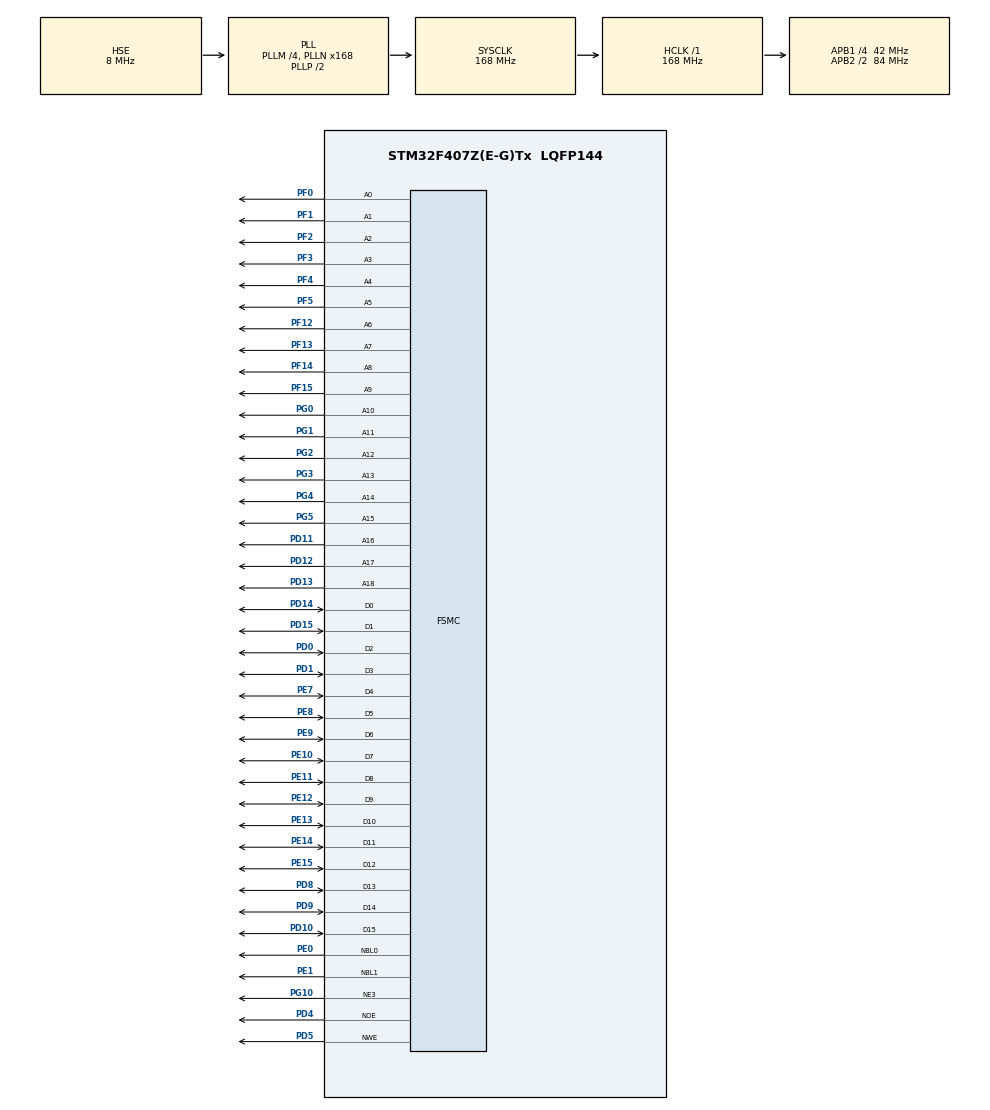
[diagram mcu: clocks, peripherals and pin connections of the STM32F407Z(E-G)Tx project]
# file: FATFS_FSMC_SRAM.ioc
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FATFS._CODE_PAGE=936
FSMC.WriteOperation1=FSMC_WRITE_OPERATION_ENABLE
Mcu.Family=STM32F4
Mcu.Name=STM32F407Z(E-G)Tx
Mcu.Package=LQFP144
NVIC.PriorityGroup=NVIC_PRIORITYGROUP_4
PA13.Mode=Serial_Wire
PA13.Signal=SYS_JTMS-SWDIO
PA14.Mode=Serial_Wire
PA14.Signal=SYS_JTCK-SWCLK
PD0.Signal=FSMC_D2_DA2
PD1.Signal=FSMC_D3_DA3
PD10.Signal=FSMC_D15_DA15
PD11.Signal=FSMC_A16_CLE
PD12.Signal=FSMC_A17_ALE
PD13.Signal=FSMC_A18
PD14.Signal=FSMC_D0_DA0
PD15.Signal=FSMC_D1_DA1
PD4.Signal=FSMC_NOE
PD5.Signal=FSMC_NWE
PD8.Signal=FSMC_D13_DA13
PD9.Signal=FSMC_D14_DA14
PE0.Signal=FSMC_NBL0
PE1.Signal=FSMC_NBL1
PE10.Signal=FSMC_D7_DA7
PE11.Signal=FSMC_D8_DA8
PE12.Signal=FSMC_D9_DA9
PE13.Signal=FSMC_D10_DA10
PE14.Signal=FSMC_D11_DA11
PE15.Signal=FSMC_D12_DA12
PE7.Signal=FSMC_D4_DA4
PE8.Signal=FSMC_D5_DA5
PE9.Signal=FSMC_D6_DA6
PF0.Signal=FSMC_A0
PF1.Signal=FSMC_A1
PF12.Signal=FSMC_A6
PF13.Signal=FSMC_A7
PF14.Signal=FSMC_A8
PF15.Signal=FSMC_A9
PF2.Signal=FSMC_A2
PF3.Signal=FSMC_A3
PF4.Signal=FSMC_A4
PF5.Signal=FSMC_A5
PG0.Signal=FSMC_A10
PG1.Signal=FSMC_A11
PG10.Mode=NorPsramChipSelect3_1
PG10.Signal=FSMC_NE3
PG2.Signal=FSMC_A12
PG3.Signal=FSMC_A13
PG4.Signal=FSMC_A14
PG5.Signal=FSMC_A15
PH0-OSC_IN.Mode=HSE-External-Oscillator
PH0-OSC_IN.Signal=RCC_OSC_IN
PH1-OSC_OUT.Mode=HSE-External-Oscillator
PH1-OSC_OUT.Signal=RCC_OSC_OUT
ProjectManager.HeapSize=0x200
ProjectManager.StackSize=0x400
ProjectManager.TargetToolchain=MDK-ARM V5
RCC.48MHZClocksFreq_Value=84000000
RCC.AHBFreq_Value=168000000
RCC.APB1CLKDivider=RCC_HCLK_DIV4
RCC.APB1Freq_Value=42000000
RCC.APB1TimFreq_Value=84000000
RCC.APB2CLKDivider=RCC_HCLK_DIV2
RCC.APB2Freq_Value=84000000
RCC.APB2TimFreq_Value=168000000
RCC.CortexFreq_Value=168000000
RCC.HCLKFreq_Value=168000000
RCC.HSE_VALUE=8000000
RCC.HSI_VALUE=16000000
RCC.LSE_VALUE=32768
RCC.PLLM=4
RCC.PLLN=168
RCC.PLLSourceVirtual=RCC_PLLSOURCE_HSE
RCC.SYSCLKFreq_VALUE=168000000
RCC.SYSCLKSource=RCC_SYSCLKSOURCE_PLLCLK
RCC.VCOOutputFreq_Value=336000000
SH.FSMC_A0.0=FSMC_A0,19b-a1
SH.FSMC_A1.0=FSMC_A1,19b-a1
SH.FSMC_A10.0=FSMC_A10,19b-a1
SH.FSMC_A11.0=FSMC_A11,19b-a1
SH.FSMC_A12.0=FSMC_A12,19b-a1
SH.FSMC_A13.0=FSMC_A13,19b-a1
SH.FSMC_A14.0=FSMC_A14,19b-a1
SH.FSMC_A15.0=FSMC_A15,19b-a1
SH.FSMC_A16_CLE.0=FSMC_A16,19b-a1
SH.FSMC_A17_ALE.0=FSMC_A17,19b-a1
SH.FSMC_A18.0=FSMC_A18,19b-a1
SH.FSMC_A2.0=FSMC_A2,19b-a1
SH.FSMC_A3.0=FSMC_A3,19b-a1
SH.FSMC_A4.0=FSMC_A4,19b-a1
SH.FSMC_A5.0=FSMC_A5,19b-a1
SH.FSMC_A6.0=FSMC_A6,19b-a1
SH.FSMC_A7.0=FSMC_A7,19b-a1
SH.FSMC_A8.0=FSMC_A8,19b-a1
SH.FSMC_A9.0=FSMC_A9,19b-a1
SH.FSMC_D0_DA0.0=FSMC_D0,16b-d1
SH.FSMC_D10_DA10.0=FSMC_D10,16b-d1
SH.FSMC_D11_DA11.0=FSMC_D11,16b-d1
SH.FSMC_D12_DA12.0=FSMC_D12,16b-d1
SH.FSMC_D13_DA13.0=FSMC_D13,16b-d1
SH.FSMC_D14_DA14.0=FSMC_D14,16b-d1
SH.FSMC_D15_DA15.0=FSMC_D15,16b-d1
SH.FSMC_D1_DA1.0=FSMC_D1,16b-d1
SH.FSMC_D2_DA2.0=FSMC_D2,16b-d1
SH.FSMC_D3_DA3.0=FSMC_D3,16b-d1
SH.FSMC_D4_DA4.0=FSMC_D4,16b-d1
SH.FSMC_D5_DA5.0=FSMC_D5,16b-d1
SH.FSMC_D6_DA6.0=FSMC_D6,16b-d1
SH.FSMC_D7_DA7.0=FSMC_D7,16b-d1
SH.FSMC_D8_DA8.0=FSMC_D8,16b-d1
SH.FSMC_D9_DA9.0=FSMC_D9,16b-d1
SH.FSMC_NBL0.0=FSMC_NBL0,2ByteEnable1
SH.FSMC_NBL1.0=FSMC_NBL1,2ByteEnable1
SH.FSMC_NOE.0=FSMC_NOE,Sram1
SH.FSMC_NWE.0=FSMC_NWE,Sram1
VP_FATFS_VS_SRAM.Mode=SRAM
board=custom

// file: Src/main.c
/* USER CODE BEGIN Header */
/**
  ******************************************************************************
  * @file           : main.c
  * @brief          : Main program body
  ******************************************************************************
  * @attention
  *
  * <h2><center>&copy; Copyright (c) 2020 STMicroelectronics.
  * All rights reserved.</center></h2>
  *
  * This software component is licensed by ST under Ultimate Liberty license
  * SLA0044, the "License"; You may not use this file except in compliance with
  * the License. You may obtain a copy of the License at:
  *                             www.st.com/SLA0044
  *
  ******************************************************************************
  */
/* USER CODE END Header */

#include "main.h"
#include "fatfs.h"

SRAM_HandleTypeDef hsram1;

void SystemClock_Config(void);
static void MX_GPIO_Init(void);
static void MX_FSMC_Init(void);

/* USER CODE BEGIN 0 */
FRESULT f_result;
FIL myfile;
uint32_t br,bw;
uint8_t msg[] = "hello world";
uint8_t buff[20];
uint8_t work[4096];

/* USER CODE END 0 */

int main(void)
{

  /* MCU Configuration--------------------------------------------------------*/

  /* Reset of all peripherals, Initializes the Flash interface and the Systick. */
  HAL_Init();

  /* Configure the system clock */
  SystemClock_Config();

  /* Initialize all configured peripherals */
  MX_GPIO_Init();
  MX_FSMC_Init();
  MX_FATFS_Init();
  /* USER CODE BEGIN 2 */

	f_result = f_mkfs(SRAMDISKPath, FM_FAT|FM_SFD, 512, work, 4096); /* 创建文件系统 */
	if(f_result != FR_OK)
	{
	  //printf("f_mkfs() allocated failed\r\n");
	  while(1);
	}
	f_result = f_mount(&SRAMDISKFatFS, SRAMDISKPath, 0); /* 挂载文件系统 */
	if(f_result != FR_OK)
	{
	  //printf("f_mkfs() allocated failed\r\n");
	  while(1);
	}

	/* 创建测试文件并写入内容 */
	f_open(&myfile, "test.txt", FA_WRITE|FA_CREATE_ALWAYS);
	f_write(&myfile,msg,11,&bw);
	f_close(&myfile);

	/* 读出测试文件的内容 */
	f_open(&myfile, "test.txt", FA_READ);
	f_read(&myfile,buff,11,&br);
	f_close(&myfile);

	/* 大家可以打断点看buff数组的内容，也可以用串口打印出来，
		注意要初始化串口，否则会卡死在printf()哦 */
	//printf("buff content:[%s] \r\n",buff);

  /* USER CODE END 2 */

  /* Infinite loop */
  while (1)
  {

  }
}

void SystemClock_Config(void)
{
  RCC_OscInitTypeDef RCC_OscInitStruct = {0};
  RCC_ClkInitTypeDef RCC_ClkInitStruct = {0};

  /** Configure the main internal regulator output voltage
  */
  __HAL_RCC_PWR_CLK_ENABLE();
  __HAL_PWR_VOLTAGESCALING_CONFIG(PWR_REGULATOR_VOLTAGE_SCALE1);
  /** Initializes the CPU, AHB and APB busses clocks
  */
  RCC_OscInitStruct.OscillatorType = RCC_OSCILLATORTYPE_HSE;
  RCC_OscInitStruct.HSEState = RCC_HSE_ON;
  RCC_OscInitStruct.PLL.PLLState = RCC_PLL_ON;
  RCC_OscInitStruct.PLL.PLLSource = RCC_PLLSOURCE_HSE;
  RCC_OscInitStruct.PLL.PLLM = 4;
  RCC_OscInitStruct.PLL.PLLN = 168;
  RCC_OscInitStruct.PLL.PLLP = RCC_PLLP_DIV2;
  RCC_OscInitStruct.PLL.PLLQ = 4;
  if (HAL_RCC_OscConfig(&RCC_OscInitStruct) != HAL_OK)
  {
    Error_Handler();
  }
  /** Initializes the CPU, AHB and APB busses clocks
  */
  RCC_ClkInitStruct.ClockType = RCC_CLOCKTYPE_HCLK|RCC_CLOCKTYPE_SYSCLK
                              |RCC_CLOCKTYPE_PCLK1|RCC_CLOCKTYPE_PCLK2;
  RCC_ClkInitStruct.SYSCLKSource = RCC_SYSCLKSOURCE_PLLCLK;
  RCC_ClkInitStruct.AHBCLKDivider = RCC_SYSCLK_DIV1;
  RCC_ClkInitStruct.APB1CLKDivider = RCC_HCLK_DIV4;
  RCC_ClkInitStruct.APB2CLKDivider = RCC_HCLK_DIV2;

  if (HAL_RCC_ClockConfig(&RCC_ClkInitStruct, FLASH_LATENCY_5) != HAL_OK)
  {
    Error_Handler();
  }
}

static void MX_GPIO_Init(void)
{

  /* GPIO Ports Clock Enable */
  __HAL_RCC_GPIOF_CLK_ENABLE();
  __HAL_RCC_GPIOH_CLK_ENABLE();
  __HAL_RCC_GPIOG_CLK_ENABLE();
  __HAL_RCC_GPIOE_CLK_ENABLE();
  __HAL_RCC_GPIOD_CLK_ENABLE();
  __HAL_RCC_GPIOA_CLK_ENABLE();

}

/* FSMC initialization function */
static void MX_FSMC_Init(void)
{

  FSMC_NORSRAM_TimingTypeDef Timing = {0};

  /** Perform the SRAM1 memory initialization sequence
  */
  hsram1.Instance = FSMC_NORSRAM_DEVICE;
  hsram1.Extended = FSMC_NORSRAM_EXTENDED_DEVICE;
  /* hsram1.Init */
  hsram1.Init.NSBank = FSMC_NORSRAM_BANK3;
  hsram1.Init.DataAddressMux = FSMC_DATA_ADDRESS_MUX_DISABLE;
  hsram1.Init.MemoryType = FSMC_MEMORY_TYPE_SRAM;
  hsram1.Init.MemoryDataWidth = FSMC_NORSRAM_MEM_BUS_WIDTH_16;
  hsram1.Init.BurstAccessMode = FSMC_BURST_ACCESS_MODE_DISABLE;
  hsram1.Init.WaitSignalPolarity = FSMC_WAIT_SIGNAL_POLARITY_LOW;
  hsram1.Init.WrapMode = FSMC_WRAP_MODE_DISABLE;
  hsram1.Init.WaitSignalActive = FSMC_WAIT_TIMING_BEFORE_WS;
  hsram1.Init.WriteOperation = FSMC_WRITE_OPERATION_ENABLE;
  hsram1.Init.WaitSignal = FSMC_WAIT_SIGNAL_DISABLE;
  hsram1.Init.ExtendedMode = FSMC_EXTENDED_MODE_DISABLE;
  hsram1.Init.AsynchronousWait = FSMC_ASYNCHRONOUS_WAIT_DISABLE;
  hsram1.Init.WriteBurst = FSMC_WRITE_BURST_DISABLE;
  hsram1.Init.PageSize = FSMC_PAGE_SIZE_NONE;
  /* Timing */
  Timing.AddressSetupTime = 15;
  Timing.AddressHoldTime = 15;
  Timing.DataSetupTime = 255;
  Timing.BusTurnAroundDuration = 15;
  Timing.CLKDivision = 16;
  Timing.DataLatency = 17;
  Timing.AccessMode = FSMC_ACCESS_MODE_A;
  /* ExtTiming */

  if (HAL_SRAM_Init(&hsram1, &Timing, NULL) != HAL_OK)
  {
    Error_Handler( );
  }

}

void Error_Handler(void)
{
}

/************************ (C) COPYRIGHT STMicroelectronics *****END OF FILE****/
